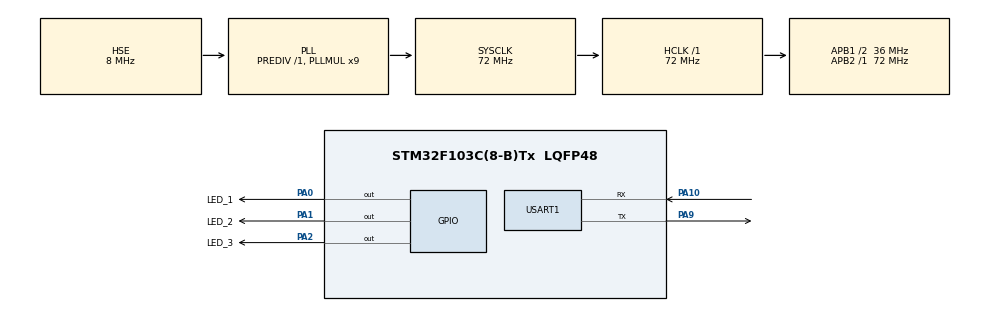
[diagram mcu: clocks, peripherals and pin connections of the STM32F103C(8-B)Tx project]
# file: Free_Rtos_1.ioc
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Dma.Request0=USART1_RX
Dma.USART1_RX.0.Direction=DMA_PERIPH_TO_MEMORY
Dma.USART1_RX.0.Instance=DMA1_Channel5
Dma.USART1_RX.0.MemDataAlignment=DMA_MDATAALIGN_BYTE
Dma.USART1_RX.0.MemInc=DMA_MINC_ENABLE
Dma.USART1_RX.0.Mode=DMA_NORMAL
Dma.USART1_RX.0.PeriphDataAlignment=DMA_PDATAALIGN_BYTE
Dma.USART1_RX.0.PeriphInc=DMA_PINC_DISABLE
Dma.USART1_RX.0.Priority=DMA_PRIORITY_LOW
FREERTOS.Tasks01=defaultTask,0,128,StartDefaultTask,Default,NULL,Dynamic,NULL,NULL;myTaskLED1,1,256,StartTaskLED1,Default,NULL,Dynamic,NULL,NULL;myTaskLED2,0,768,StartTaskLED2,Default,NULL,Dynamic,NULL,NULL;myTaskLED3,-1,640,StartTaskLED3,Default,NULL,Dynamic,NULL,NULL
Mcu.Family=STM32F1
Mcu.Name=STM32F103C(8-B)Tx
Mcu.Package=LQFP48
NVIC.DMA1_Channel5_IRQn=true\:5\:0\:false\:false\:true\:true\:false\:true\:true
NVIC.PriorityGroup=NVIC_PRIORITYGROUP_4
NVIC.TIM1_UP_IRQn=true\:15\:0\:false\:false\:true\:false\:false\:true\:true
NVIC.TimeBase=TIM1_UP_IRQn
NVIC.TimeBaseIP=TIM1
PA0-WKUP.GPIO_Label=LED_1
PA0-WKUP.Signal=GPIO_Output
PA1.GPIO_Label=LED_2
PA1.Signal=GPIO_Output
PA10.Mode=Asynchronous
PA10.Signal=USART1_RX
PA13.Mode=Serial_Wire
PA13.Signal=SYS_JTMS-SWDIO
PA14.Mode=Serial_Wire
PA14.Signal=SYS_JTCK-SWCLK
PA2.GPIO_Label=LED_3
PA2.Signal=GPIO_Output
PA9.Mode=Asynchronous
PA9.Signal=USART1_TX
PD0-OSC_IN.Mode=HSE-External-Oscillator
PD0-OSC_IN.Signal=RCC_OSC_IN
PD1-OSC_OUT.Mode=HSE-External-Oscillator
PD1-OSC_OUT.Signal=RCC_OSC_OUT
ProjectManager.HeapSize=0x200
ProjectManager.StackSize=0x400
ProjectManager.TargetToolchain=SW4STM32
RCC.AHBFreq_Value=72000000
RCC.APB1CLKDivider=RCC_HCLK_DIV2
RCC.APB1Freq_Value=36000000
RCC.APB1TimFreq_Value=72000000
RCC.APB2Freq_Value=72000000
RCC.APB2TimFreq_Value=72000000
RCC.HCLKFreq_Value=72000000
RCC.PLLMUL=RCC_PLL_MUL9
RCC.PLLSourceVirtual=RCC_PLLSOURCE_HSE
RCC.SYSCLKFreq_VALUE=72000000
RCC.SYSCLKSource=RCC_SYSCLKSOURCE_PLLCLK
RCC.USBFreq_Value=72000000
USART1.VirtualMode=VM_ASYNC
VP_FREERTOS_VS_CMSIS_V1.Mode=CMSIS_V1
VP_SYS_VS_tim1.Mode=TIM1
board=custom

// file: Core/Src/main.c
/* USER CODE BEGIN Header */
/**
  ******************************************************************************
  * @file           : main.c
  * @brief          : Main program body
  ******************************************************************************
  * @attention
  *
  * Copyright (c) 2023 STMicroelectronics.
  * All rights reserved.
  *
  * This software is licensed under terms that can be found in the LICENSE file
  * in the root directory of this software component.
  * If no LICENSE file comes with this software, it is provided AS-IS.
  *
  ******************************************************************************
  */
/* USER CODE END Header */
#include "main.h"
#include "cmsis_os.h"
#include "dma.h"
#include "usart.h"
#include "gpio.h"

void SystemClock_Config(void);
void MX_FREERTOS_Init(void);

int main(void)
{

  /* MCU Configuration--------------------------------------------------------*/

  /* Reset of all peripherals, Initializes the Flash interface and the Systick. */
  HAL_Init();

  /* Configure the system clock */
  SystemClock_Config();

  /* USER CODE BEGIN SysInit */
    RetargetInit(&huart1);
  /* USER CODE END SysInit */

  /* Initialize all configured peripherals */
  MX_GPIO_Init();
  MX_DMA_Init();
  MX_USART1_UART_Init();

  /* Call init function for freertos objects (in freertos.c) */
  MX_FREERTOS_Init();

  /* Start scheduler */
  osKernelStart();

  /* We should never get here as control is now taken by the scheduler */
  /* Infinite loop */
  /* USER CODE BEGIN WHILE */
  while (1) //while循环里面语句全都执行不到了，全部交给freertos托管�?
  {
    /* USER CODE END WHILE */

    /* USER CODE BEGIN 3 */
      HAL_GPIO_TogglePin(LED_1_GPIO_Port,LED_1_Pin);
      HAL_GPIO_TogglePin(LED_2_GPIO_Port,LED_2_Pin);
      HAL_GPIO_TogglePin(LED_3_GPIO_Port,LED_3_Pin);
      HAL_Delay(300);
  }
  /* USER CODE END 3 */
}

void SystemClock_Config(void)
{
  RCC_OscInitTypeDef RCC_OscInitStruct = {0};
  RCC_ClkInitTypeDef RCC_ClkInitStruct = {0};

  /** Initializes the RCC Oscillators according to the specified parameters
  * in the RCC_OscInitTypeDef structure.
  */
  RCC_OscInitStruct.OscillatorType = RCC_OSCILLATORTYPE_HSE;
  RCC_OscInitStruct.HSEState = RCC_HSE_ON;
  RCC_OscInitStruct.HSEPredivValue = RCC_HSE_PREDIV_DIV1;
  RCC_OscInitStruct.HSIState = RCC_HSI_ON;
  RCC_OscInitStruct.PLL.PLLState = RCC_PLL_ON;
  RCC_OscInitStruct.PLL.PLLSource = RCC_PLLSOURCE_HSE;
  RCC_OscInitStruct.PLL.PLLMUL = RCC_PLL_MUL9;
  if (HAL_RCC_OscConfig(&RCC_OscInitStruct) != HAL_OK)
  {
    Error_Handler();
  }

  /** Initializes the CPU, AHB and APB buses clocks
  */
  RCC_ClkInitStruct.ClockType = RCC_CLOCKTYPE_HCLK|RCC_CLOCKTYPE_SYSCLK
                              |RCC_CLOCKTYPE_PCLK1|RCC_CLOCKTYPE_PCLK2;
  RCC_ClkInitStruct.SYSCLKSource = RCC_SYSCLKSOURCE_PLLCLK;
  RCC_ClkInitStruct.AHBCLKDivider = RCC_SYSCLK_DIV1;
  RCC_ClkInitStruct.APB1CLKDivider = RCC_HCLK_DIV2;
  RCC_ClkInitStruct.APB2CLKDivider = RCC_HCLK_DIV1;

  if (HAL_RCC_ClockConfig(&RCC_ClkInitStruct, FLASH_LATENCY_2) != HAL_OK)
  {
    Error_Handler();
  }
}

void HAL_TIM_PeriodElapsedCallback(TIM_HandleTypeDef *htim)
{
  if (htim->Instance == TIM1) {
    HAL_IncTick();
  }
}

void Error_Handler(void)
{
  __disable_irq();
  while (1)
  {
  }
}

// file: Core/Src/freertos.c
/* USER CODE BEGIN Header */
/**
  ******************************************************************************
  * File Name          : freertos.c
  * Description        : Code for freertos applications
  ******************************************************************************
  * @attention
  *
  * Copyright (c) 2023 STMicroelectronics.
  * All rights reserved.
  *
  * This software is licensed under terms that can be found in the LICENSE file
  * in the root directory of this software component.
  * If no LICENSE file comes with this software, it is provided AS-IS.
  *
  ******************************************************************************
  */
/* USER CODE END Header */

#include "FreeRTOS.h"
#include "task.h"
#include "main.h"
#include "cmsis_os.h"

/* USER CODE BEGIN PTD */
QueueHandle_t Queue_Test;   //定义�?个队列句�?
/* USER CODE END PTD */

/* USER CODE BEGIN PM */
struct Pills_Message {
    char ucMessageID;
    uint8_t ucData[3];
} xPillsMessage;

struct Pills_Message *SubBoxPills;

uint16_t i = 0;
/* USER CODE END PM */

/* USER CODE BEGIN Variables */
osMutexId Mutex_Test;  //定义一个互斥锁句柄

/* USER CODE END Variables */
osThreadId defaultTaskHandle;
osThreadId myTaskLED1Handle;
osThreadId myTaskLED2Handle;
osThreadId myTaskLED3Handle;

/* USER CODE BEGIN FunctionPrototypes */
osMutexDef(Mutex_Test);  //定义互斥�?

/* USER CODE END FunctionPrototypes */

void StartDefaultTask(void const * argument);
void StartTaskLED1(void const * argument);
void StartTaskLED2(void const * argument);
void StartTaskLED3(void const * argument);

void MX_FREERTOS_Init(void); /* (MISRA C 2004 rule 8.1) */

/* GetIdleTaskMemory prototype (linked to static allocation support) */
void vApplicationGetIdleTaskMemory( StaticTask_t **ppxIdleTaskTCBBuffer, StackType_t **ppxIdleTaskStackBuffer, uint32_t *pulIdleTaskStackSize );

/* USER CODE BEGIN GET_IDLE_TASK_MEMORY */
static StaticTask_t xIdleTaskTCBBuffer;
static StackType_t xIdleStack[configMINIMAL_STACK_SIZE];

void vApplicationGetIdleTaskMemory( StaticTask_t **ppxIdleTaskTCBBuffer, StackType_t **ppxIdleTaskStackBuffer, uint32_t *pulIdleTaskStackSize )
{
  *ppxIdleTaskTCBBuffer = &xIdleTaskTCBBuffer;
  *ppxIdleTaskStackBuffer = &xIdleStack[0];
  *pulIdleTaskStackSize = configMINIMAL_STACK_SIZE;
  /* place for user code */
}
/* USER CODE END GET_IDLE_TASK_MEMORY */

void MX_FREERTOS_Init(void) {

  /* USER CODE BEGIN RTOS_MUTEX */
  /* add mutexes, ... */
    Mutex_Test = osMutexCreate(osMutex(Mutex_Test)); //创建互斥�?
  /* USER CODE END RTOS_MUTEX */

  /* USER CODE BEGIN RTOS_QUEUES */
  /* add queues, ... */
  Queue_Test = xQueueCreate(10,sizeof(struct Pills_Message *));
  /* USER CODE END RTOS_QUEUES */

  /* Create the thread(s) */
  /* definition and creation of defaultTask */
  osThreadDef(defaultTask, StartDefaultTask, osPriorityNormal, 0, 128*3);
  defaultTaskHandle = osThreadCreate(osThread(defaultTask), NULL);

  /* definition and creation of myTaskLED1 */
  osThreadDef(myTaskLED1, StartTaskLED1, osPriorityAboveNormal, 0, 128*2);
  myTaskLED1Handle = osThreadCreate(osThread(myTaskLED1), NULL);

  /* definition and creation of myTaskLED2 */
  osThreadDef(myTaskLED2, StartTaskLED2, osPriorityNormal, 0, 128*8);
  myTaskLED2Handle = osThreadCreate(osThread(myTaskLED2), NULL);

  /* definition and creation of myTaskLED3 */
  osThreadDef(myTaskLED3, StartTaskLED3, osPriorityBelowNormal, 0, 128*4);
  myTaskLED3Handle = osThreadCreate(osThread(myTaskLED3), NULL);

}

void StartDefaultTask(void const * argument)
{
  /* USER CODE BEGIN StartDefaultTask */
  /* Infinite loop */
    for(;;)
  {

     // printf("Free_Rtos OK!\r\n");

      //osThreadSuspend(defaultTaskHandle);
/*      if(i<5) osThreadSuspend(defaultTaskHandle);
      else {
          osThreadResume(defaultTaskHandle);
          i = 0;
      }
      printf("defaulttask is running!\r\n");*/
    osDelay(10);
    //osThreadYield(); //让出控制权给下一个就绪的线程（相当于我后面的代码都不执行了，我直接让出来！）

     // printf("I got it!\r\n");
  }
  /* USER CODE END StartDefaultTask */
}

void StartTaskLED1(void const * argument)
{
  /* USER CODE BEGIN StartTaskLED1 */
  /* Infinite loop */
  for(;;)
  {
      HAL_GPIO_TogglePin(LED_1_GPIO_Port,LED_1_Pin);
      printf("task1 ok!\r\n");
     // osThreadResumeAll();
/*      if(i++<2)osThreadSuspend(defaultTaskHandle); //挂起默认任务
      else {
          osThreadResume(defaultTaskHandle);
          i = 0;
      }*/
    osDelay(1000);

  }
  /* USER CODE END StartTaskLED1 */
}

void StartTaskLED2(void const * argument)
{
  /* USER CODE BEGIN StartTaskLED2 */
  /* Infinite loop */
  struct Pills_Message *pxreadpointer;
  for(;;)
  {
      //printf("debug2.\r\n");
      if(Queue_Test!=NULL)
      {
          if(xQueueReceive(Queue_Test,&pxreadpointer,0) == pdPASS)
          {
              printf("%c\r\n",pxreadpointer->ucMessageID);
              printf("%d\r\n",pxreadpointer->ucData[0]);
              printf("%d\r\n",pxreadpointer->ucData[1]);
              printf("%d\r\n",pxreadpointer->ucData[2]);

          }
      }
     // i++;
     HAL_GPIO_TogglePin(LED_2_GPIO_Port,LED_2_Pin);
    osDelay(500);
  }
  /* USER CODE END StartTaskLED2 */
}

void StartTaskLED3(void const * argument)
{
  /* USER CODE BEGIN StartTaskLED3 */
  static struct Pills_Message myPill;
  /* Infinite loop */
  for(;;)
  {
      if(osMutexWait(Mutex_Test,0) == osOK) //获取互斥锁
      {
          if (Queue_Test != NULL) {
              SubBoxPills = &myPill;
              SubBoxPills->ucMessageID = 'B';
              SubBoxPills->ucData[0] = 1;
              SubBoxPills->ucData[1] = 2;
              SubBoxPills->ucData[2] = 3;
              xQueueSend(Queue_Test, &SubBoxPills, 0);//如果队列已满，不阻塞
              printf("Queue Send.\r\n");
          }

          printf("Access Mutex!\r\n");
          osMutexRelease(Mutex_Test);//释放互斥锁

          HAL_GPIO_TogglePin(LED_3_GPIO_Port, LED_3_Pin);
          //if(osThreadGetId() == myTaskLED2Handle) printf("I make it!");
          // printf("Priority = %d\r\n",osThreadGetPriority(myTaskLED2Handle));
          osDelay(100);
      }
  }
  /* USER CODE END StartTaskLED3 */
}
